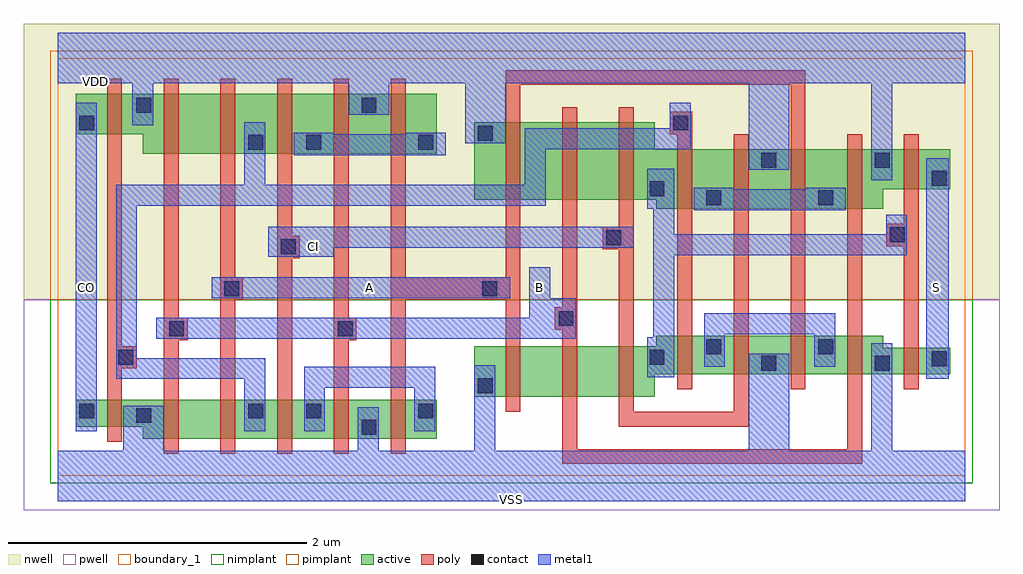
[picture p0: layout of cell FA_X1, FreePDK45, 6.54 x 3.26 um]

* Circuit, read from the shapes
.subckt FA_X1 A B CI CO S VDD VSS
M1 VSS n1 CO VSUBS nfet w=0.18u l=0.1u
M2 n2 B VSS VSUBS nfet w=0.26u l=0.1u
M3 n1 A n2 VSUBS nfet w=0.26u l=0.1u
M4 n3 CI n1 VSUBS nfet w=0.26u l=0.1u
M5 VSS B n3 VSUBS nfet w=0.26u l=0.1u
M6 n3 A VSS VSUBS nfet w=0.26u l=0.1u
M7 n4 A VSS VSUBS nfet w=0.34u l=0.1u
M8 n5 B n4 VSUBS nfet w=0.34u l=0.1u
M9 n6 CI n5 VSUBS nfet w=0.34u l=0.1u
M10 n7 n1 n6 VSUBS nfet w=0.26u l=0.1u
M11 VSS CI n7 VSUBS nfet w=0.26u l=0.1u
M12 n7 A VSS VSUBS nfet w=0.26u l=0.1u
M13 VSS B n7 VSUBS nfet w=0.26u l=0.1u
M14 S n6 VSS VSUBS nfet w=0.18u l=0.1u
M15 VDD n1 CO n8 pfet w=0.27u l=0.1u
M16 n9 B VDD n8 pfet w=0.4u l=0.1u
M17 n1 A n9 n8 pfet w=0.4u l=0.1u
M18 n10 CI n1 n8 pfet w=0.4u l=0.1u
M19 VDD B n10 n8 pfet w=0.4u l=0.1u
M20 n10 A VDD n8 pfet w=0.4u l=0.1u
M21 n11 A VDD n8 pfet w=0.52u l=0.1u
M22 n12 B n11 n8 pfet w=0.52u l=0.1u
M23 n6 CI n12 n8 pfet w=0.52u l=0.1u
M24 n13 n1 n6 n8 pfet w=0.4u l=0.1u
M25 VDD CI n13 n8 pfet w=0.4u l=0.1u
M26 n13 A VDD n8 pfet w=0.4u l=0.1u
M27 VDD B n13 n8 pfet w=0.4u l=0.1u
M28 S n6 VDD n8 pfet w=0.27u l=0.1u
.ends

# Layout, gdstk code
import gdstk
lib = gdstk.Library(unit=1e-6, precision=1e-09)
def R(c, l, rs):  # rectangles x0, y0, x1, y1
    for r in rs: c.add(gdstk.rectangle(r[:2], r[2:], *l))
def P(c, l, *ps):  # polygons
    for p in ps: c.add(gdstk.Polygon(p, *l))
active = (1, 0)
pwell = (2, 0)
nwell = (3, 0)
nimplant = (4, 0)
pimplant = (5, 0)
poly = (9, 0)
contact = (10, 0)
metal1 = (11, 0)
boundary_1 = (235, 1)

fa_x1 = lib.new_cell('FA_X1')
P(fa_x1, active, [(2.79,1.85),(4.01,1.85),(4.01,1.79),(5.53,1.79),(5.53,1.92),(5.98,1.92),(5.98,2.19),(4,2.19),(4,2.37),(2.79,2.37)],
  [(2.79,0.53),(4,0.53),(4,0.68),(5.98,0.68),(5.98,0.86),(5.53,0.86),(5.53,0.94),(4.01,0.94),(4.01,0.87),(2.79,0.87)],
  [(0.12,2.29),(0.57,2.29),(0.57,2.16),(2.54,2.16),(2.54,2.56),(0.12,2.56)],
  [(0.12,0.33),(0.57,0.33),(0.57,0.25),(2.54,0.25),(2.54,0.51),(0.12,0.51)])
R(fa_x1, pwell, [(-0.23,-0.23,6.31,1.18)])
R(fa_x1, nwell, [(-0.23,1.18,6.31,3.03)])
R(fa_x1, nimplant, [(-0.05,-0.05,6.13,1.18)])
R(fa_x1, pimplant, [(-0.05,1.18,6.13,2.85)])
P(fa_x1, poly, [(5.55,1.54),(5.67,1.54),(5.67,0.58),(5.77,0.58),(5.77,2.29),(5.67,2.29),(5.67,1.69),(5.55,1.69)],
  [(3.33,0.98),(3.38,0.98),(3.38,0.08),(5.39,0.08),(5.39,2.29),(5.29,2.29),(5.29,0.18),(3.48,0.18),(3.48,2.47),(3.38,2.47),(3.38,1.13),(3.33,1.13)],
  [(2.23,0.15),(2.33,0.15),(2.33,1.18),(3,1.18),(3,0.43),(3.1,0.43),(3.1,2.62),(4.91,2.62),(4.91,0.58),(5.01,0.58),(5.01,2.72),(3,2.72),(3,1.33),(2.33,1.33),(2.33,2.66),(2.23,2.66)],
  [(3.65,1.52),(3.76,1.52),(3.76,0.33),(4.63,0.33),(4.63,2.29),(4.53,2.29),(4.53,0.43),(3.86,0.43),(3.86,2.47),(3.76,2.47),(3.76,1.67),(3.65,1.67)],
  [(4.1,2.29),(4.15,2.29),(4.15,0.58),(4.25,0.58),(4.25,2.44),(4.1,2.44)],
  [(1.85,0.15),(1.95,0.15),(1.95,0.91),(2,0.91),(2,1.06),(1.95,1.06),(1.95,2.66),(1.85,2.66)],
  [(1.47,0.15),(1.57,0.15),(1.57,1.46),(1.62,1.46),(1.62,1.61),(1.57,1.61),(1.57,2.66),(1.47,2.66)],
  [(1.09,0.15),(1.19,0.15),(1.19,1.18),(1.24,1.18),(1.24,1.33),(1.19,1.33),(1.19,2.66),(1.09,2.66)],
  [(0.71,0.15),(0.81,0.15),(0.81,0.91),(0.87,0.91),(0.87,1.06),(0.81,1.06),(0.81,2.66),(0.71,2.66)],
  [(0.33,0.23),(0.43,0.23),(0.43,0.72),(0.53,0.72),(0.53,0.87),(0.43,0.87),(0.43,2.66),(0.33,2.66)])
R(fa_x1, contact, [(2.035,0.275,2.135,0.375), (0.525,0.355,0.625,0.455), (0.145,0.385,0.245,0.485), (1.275,0.385,1.375,0.485), (1.665,0.385,1.765,0.485), (2.415,0.385,2.515,0.485), (2.815,0.555,2.915,0.655), (4.715,0.705,4.815,0.805), (5.475,0.705,5.575,0.805), (5.855,0.735,5.955,0.835), (0.405,0.745,0.505,0.845), (3.965,0.745,4.065,0.845), (4.345,0.815,4.445,0.915), (5.095,0.815,5.195,0.915), (0.745,0.935,0.845,1.035), (1.875,0.935,1.975,1.035), (3.355,1.005,3.455,1.105), (1.115,1.205,1.215,1.305), (2.845,1.205,2.945,1.305), (1.495,1.485,1.595,1.585), (3.675,1.545,3.775,1.645), (5.575,1.565,5.675,1.665), (4.345,1.815,4.445,1.915), (5.095,1.815,5.195,1.915), (3.965,1.875,4.065,1.975), (5.855,1.945,5.955,2.045), (4.715,2.065,4.815,2.165), (5.475,2.065,5.575,2.165), (1.275,2.185,1.375,2.285), (1.665,2.185,1.765,2.285), (2.415,2.185,2.515,2.285), (2.815,2.245,2.915,2.345), (0.145,2.315,0.245,2.415), (4.125,2.315,4.225,2.415), (0.525,2.435,0.625,2.535), (2.035,2.435,2.135,2.535)])
R(fa_x1, metal1, [(0.12,0.3,0.26,2.5), (0.12,0.3,0.26,2.5), (5.82,0.65,5.97,2.13), (5.82,0.65,5.97,2.13), (1.03,1.19,3.03,1.33), (1.03,1.19,3.03,1.33)])
P(fa_x1, metal1, [(0.66,0.92),(3.47,0.92),(3.47,1.19),(3.3,1.19),(3.3,1.4),(3.16,1.4),(3.16,1.06),(0.66,1.06)],
  [(1.41,1.47),(1.85,1.47),(1.85,1.53),(3.86,1.53),(3.86,1.67),(1.41,1.67)],
  [(0,-0.17),(6.08,-0.17),(6.08,0.17),(5.59,0.17),(5.59,0.89),(5.45,0.89),(5.45,0.17),(4.9,0.17),(4.9,0.82),(4.63,0.82),(4.63,0.17),(2.93,0.17),(2.93,0.74),(2.79,0.74),(2.79,0.17),(2.15,0.17),(2.15,0.46),(2.01,0.46),(2.01,0.17),(0.71,0.17),(0.71,0.47),(0.44,0.47),(0.44,0.17),(0,0.17)],
  [(0,2.63),(0.5,2.63),(0.5,2.35),(0.64,2.35),(0.64,2.63),(1.95,2.63),(1.95,2.42),(2.22,2.42),(2.22,2.63),(2.73,2.63),(2.73,2.23),(3,2.23),(3,2.63),(4.63,2.63),(4.63,2.05),(4.9,2.05),(4.9,2.63),(5.45,2.63),(5.45,1.98),(5.59,1.98),(5.59,2.63),(6.08,2.63),(6.08,2.97),(0,2.97)],
  [(0,2.63),(0.5,2.63),(0.5,2.35),(0.64,2.35),(0.64,2.63),(1.95,2.63),(1.95,2.42),(2.22,2.42),(2.22,2.63),(2.73,2.63),(2.73,2.23),(3,2.23),(3,2.63),(4.63,2.63),(4.63,2.05),(4.9,2.05),(4.9,2.63),(5.45,2.63),(5.45,1.98),(5.59,1.98),(5.59,2.63),(6.08,2.63),(6.08,2.97),(0,2.97)],
  [(0,-0.17),(6.08,-0.17),(6.08,0.17),(5.59,0.17),(5.59,0.89),(5.45,0.89),(5.45,0.17),(4.9,0.17),(4.9,0.82),(4.63,0.82),(4.63,0.17),(2.93,0.17),(2.93,0.74),(2.79,0.74),(2.79,0.17),(2.15,0.17),(2.15,0.46),(2.01,0.46),(2.01,0.17),(0.71,0.17),(0.71,0.47),(0.44,0.47),(0.44,0.17),(0,0.17)],
  [(3.95,1.79),(3.99,1.79),(3.99,0.93),(3.95,0.93),(3.95,0.66),(4.13,0.66),(4.13,1.48),(5.69,1.48),(5.69,1.75),(5.55,1.75),(5.55,1.62),(4.13,1.62),(4.13,2.06),(3.95,2.06)],
  [(4.26,1.78),(5.28,1.78),(5.28,1.93),(5.01,1.93),(5.01,1.92),(4.53,1.92),(4.53,1.93),(4.26,1.93)],
  [(4.33,0.73),(4.47,0.73),(4.47,0.95),(5.07,0.95),(5.07,0.73),(5.21,0.73),(5.21,1.09),(4.33,1.09)],
  [(0.53,1.81),(3.27,1.81),(3.27,2.19),(4.24,2.19),(4.24,2.5),(4.1,2.5),(4.1,2.33),(3.13,2.33),(3.13,1.95),(1.39,1.95),(1.39,2.37),(1.25,2.37),(1.25,1.95),(0.39,1.95),(0.39,0.65),(1.25,0.65),(1.25,0.3),(1.39,0.3),(1.39,0.79),(0.53,0.79)],
  [(1.41,1.47),(1.85,1.47),(1.85,1.53),(3.86,1.53),(3.86,1.67),(1.41,1.67)],
  [(0.66,0.92),(3.47,0.92),(3.47,1.19),(3.3,1.19),(3.3,1.4),(3.16,1.4),(3.16,1.06),(0.66,1.06)],
  [(1.58,2.15),(2.6,2.15),(2.6,2.3),(2.33,2.3),(2.33,2.29),(1.85,2.29),(1.85,2.3),(1.58,2.3)],
  [(1.65,0.3),(1.79,0.3),(1.79,0.59),(2.39,0.59),(2.39,0.3),(2.53,0.3),(2.53,0.73),(1.65,0.73)])
R(fa_x1, boundary_1, [(0,0,6.08,2.8)])
fa_x1.add(gdstk.Label('VSS', (3.04,-0.16), layer=11, texttype=0))
fa_x1.add(gdstk.Label('VDD', (0.25,2.64), layer=11, texttype=0))
fa_x1.add(gdstk.Label('S', (5.89,1.26), layer=11, texttype=0))
fa_x1.add(gdstk.Label('CO', (0.19,1.26), layer=11, texttype=0))
fa_x1.add(gdstk.Label('CI', (1.71,1.54), layer=11, texttype=0))
fa_x1.add(gdstk.Label('B', (3.23,1.26), layer=11, texttype=0))
fa_x1.add(gdstk.Label('A', (2.09,1.26), layer=11, texttype=0))

lib.write_gds('FA_X1.gds')
